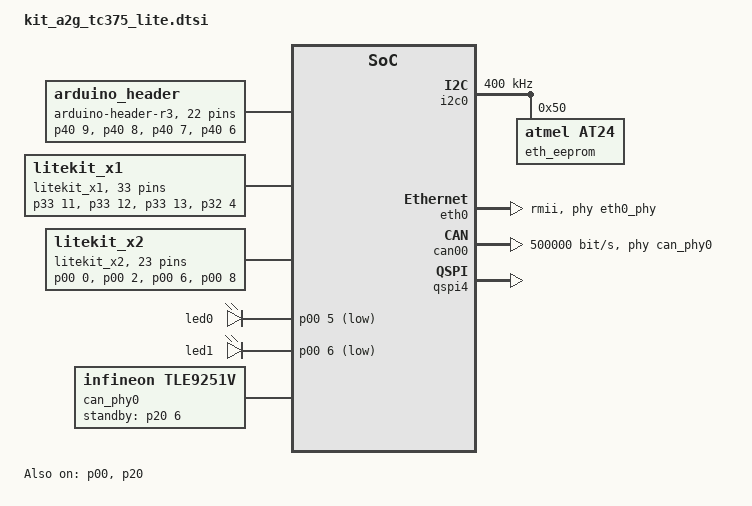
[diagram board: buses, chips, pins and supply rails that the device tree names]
/* Copyright (c) 2024 Infineon Technologies AG
 *
 * SPDX-License-Identifier: Apache-2.0
 */
#include "kit_a2g_tc375_lite-pinctrl.dtsi"
#include <zephyr/dt-bindings/i2c/i2c.h>

/ {
	arduino_header: arduino-connector {
		compatible = "arduino-header-r3";
		#gpio-cells = <2>;
		gpio-map-mask = <0xffffffff 0xffffffc0>;
		gpio-map-pass-thru = <0 0x3f>;
		gpio-map = <0 0 &p40 9 0>,	/* A0 */
			   <1 0 &p40 8 0>,	/* A1 */
			   <2 0 &p40 7 0>,	/* A2 */
			   <3 0 &p40 6 0>,	/* A3 */
			   <4 0 &p40 0 0>,	/* A4 */
			   <5 0 &p40 1 0>,	/* A5 */
			   <6 0 &p15 3 0>,	/* D0 */
			   <7 0 &p15 2 0>,	/* D1 */
			   <8 0 &p02 0 0>,	/* D2 */
			   <9 0 &p02 1 0>,	/* D3 */
			   <10 0 &p10 4 0>,	/* D4 */
			   <11 0 &p02 3 0>,	/* D5 */
			   <12 0 &p02 5 0>,	/* D6 */
			   <13 0 &p02 4 0>,	/* D7 */
			   <14 0 &p02 6 0>,	/* D8 */
			   <15 0 &p02 7 0>,	/* D9 */
			   <16 0 &p10 5 0>,	/* D10 */
			   <17 0 &p10 3 0>,	/* D11 */
			   <18 0 &p10 1 0>,	/* D12 */
			   <19 0 &p10 2 0>,	/* D13 */
			   <20 0 &p13 2 0>,	/* D14 */
			   <21 0 &p13 1 0>;	/* D15 */
	};

	litekit_x1: x1-connector {
		compatible = "litekit_x1";
		#gpio-cells = <2>;
		gpio-map-mask = <0xffffffff 0xffffffc0>;
		gpio-map-pass-thru = <0 0x3f>;
		gpio-map =
			<3 0 &p33 11 0>,
			<4 0 &p33 12 0>,
			<5 0 &p33 13 0>,
			<6 0 &p32 4 0>,
			<7 0 &p23 1 0>,
			<8 0 &p23 0 0>,
			<9 0 &p23 3 0>,
			<10 0 &p23 2 0>,
			<11 0 &p23 5 0>,
			<12 0 &p23 4 0>,
			<13 0 &p22 1 0>,
			<14 0 &p22 0 0>,
			<15 0 &p21 0 0>,
			<16 0 &p22 2 0>,
			<17 0 &p21 2 0>,
			<18 0 &p22 3 0>,
			<19 0 &p21 4 0>,
			<20 0 &p21 3 0>,
			<21 0 &p20 10 0>,
			<22 0 &p21 5 0>,
			<23 0 &p20 0 0>,
			<24 0 &p20 1 0>,
			<25 0 &p20 3 0>,
			<28 0 &p20 14 0>,
			<29 0 &p15 5 0>,
			<31 0 &p15 4 0>,
			<32 0 &p11 12 0>,
			<33 0 &p11 11 0>,
			<34 0 &p11 10 0>,
			<35 0 &p11 9 0>,
			<36 0 &p11 6 0>,
			<37 0 &p11 3 0>,
			<38 0 &p11 2 0>;
	};

	litekit_x2: x2-connector {
		compatible = "litekit_x2";
		#gpio-cells = <2>;
		gpio-map-mask = <0xffffffff 0xffffffc0>;
		gpio-map-pass-thru = <0 0x3f>;
		gpio-map =
			<2 0 &p00 0 0>,
			<3 0 &p00 2 0>,
			<4 0 &p00 6 0>,
			<5 0 &p00 8 0>,
			<6 0 &p00 10 0>,
			<7 0 &p00 12 0>,
			<15 0 &p33 1 0>,
			<16 0 &p33 3 0>,
			<17 0 &p33 5 0>,
			<18 0 &p33 7 0>,
			<19 0 &p33 9 0>,
			<22 0 &p00 1 0>,
			<23 0 &p00 3 0>,
			<24 0 &p00 5 0>,
			<25 0 &p00 7 0>,
			<26 0 &p00 9 0>,
			<27 0 &p00 11 0>,
			<34 0 &p33 0 0>,
			<35 0 &p33 2 0>,
			<36 0 &p33 4 0>,
			<37 0 &p33 6 0>,
			<38 0 &p33 8 0>,
			<39 0 &p33 10 0>;
	};

	leds {
		compatible = "gpio-leds";
		led0: led_0 {
			gpios = <&p00 5 GPIO_ACTIVE_LOW>;
		};
		led1: led_1 {
			gpios = <&p00 6 GPIO_ACTIVE_LOW>;
		};
	};

	aliases {
		led0 = &led0;
		led1 = &led1;
	};

	can_phy0: can-phy0 {
		compatible = "infineon,tle9251v", "can-transceiver-gpio";
		standby-gpios = <&p20 6 0>;
		max-bitrate = <5000000>;
		#phy-cells = <0>;
	};
};

arduino_serial: &asclin0 {
	compatible = "infineon,asclin-uart";
	pinctrl-0 = <&uart0_default>;
	pinctrl-names = "default";
};

&i2c0 {
	pinctrl-0 = <&i2c0_default>;
	pinctrl-names = "default";
	clock-frequency = <I2C_BITRATE_FAST>;
	status = "okay";

	eth_eeprom: eeprom@50 {
		compatible = "atmel,at24";
		reg = <0x50>;
		size = <256>;
		address-width = <8>;
		pagesize = <8>;
		timeout = <5>;
		read-only;
	};
};

&fosc {
	clock-frequency = <DT_FREQ_M(20)>;
	status = "okay";
};

&p00 {
	status = "okay";
};
&p20 {
	status = "okay";
};

&eth0 {
	pinctrl-0 = <&eth0_rmii_default>;
	pinctrl-names = "default";
	phy-connection-type = "rmii";
	phy-handle = <&eth0_phy>;
	mac-eeprom = <&eth_eeprom>;
};

&mdio0 {
	pinctrl-0 = <&eth0_mdio_default_default>;
	pinctrl-names = "default";

	eth0_phy: ethernet-phy@0 {
		compatible = "ethernet-phy";
		reg = <0>;
		status = "disabled";
	};
};

&can00 {
	bus-speed = <500000>;
	bus-speed-data = <2000000>;
	pinctrl-0 = <&can0_default>;
	pinctrl-names = "default";
	phys = <&can_phy0>;
	status = "okay";
};

qspi4: &qspi4 {
	pinctrl-0 = <&qspi4_pin>;
	pinctrl-names = "default";
	max_clock_frequency = <50000000>;
	status = "okay";
};
